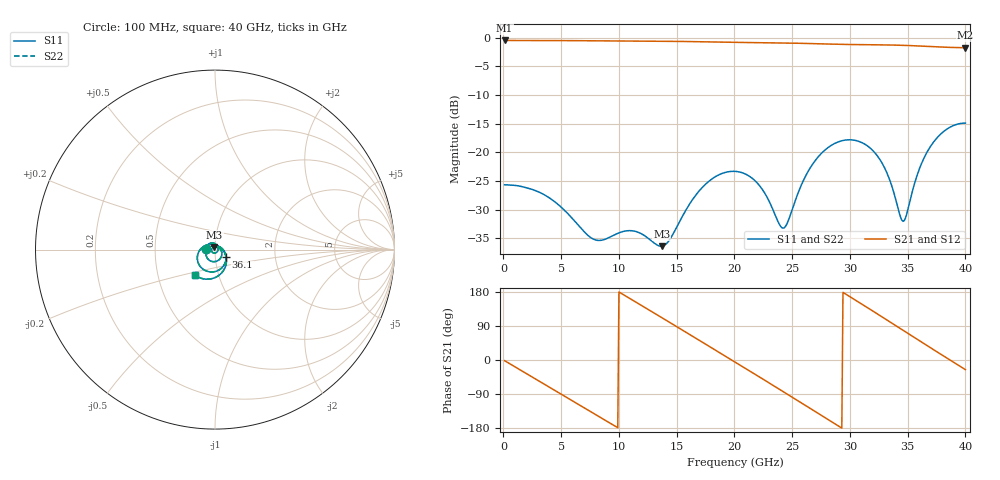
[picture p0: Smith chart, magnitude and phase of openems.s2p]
! thru_s8x2_L1: 2×thru, L1, 8 mm
! stackup: 8-layer 1.6 mm FR-4 without the L2 plane
! ports: 1, 2
! openEMS 0.37.0, staircase, fine mesh (dfine 0.0175 mm), 703416 cells
# Hz S RI R 50
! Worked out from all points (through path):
!   400 points, 100 MHz to 40 GHz, reference 50 ohm
!   highest |S21| = -0.47 dB at 100 MHz (marker M1); lowest = -1.7 dB at 40 GHz (marker M2)
!   group delay of S21, straight-line fit = 51.8 ps
!   lowest |S11| = -36.4 dB at 13.7 GHz (marker M3), VSWR 1.03, Z = 49.5 + j1.43 ohm
!   |S11| at or under -10 dB: start of sweep to end of sweep
!   |S22| runs from -36.4 to -14.9 dB; largest |S21 - S12| = 0
!   S11 on the Smith chart (normalised r, x): 100 MHz: 0.90, +0.00; 36.1 GHz: 1.13, -0.10; 40 GHz: 0.77, -0.22
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1e8  -0.0521 0.00139  0.9465 -0.0298  0.9465 -0.0298  -0.0521 0.00139
1.8e9  -0.0438 0.0234  0.7992 -0.5073  0.7992 -0.5073  -0.0438 0.0234
3.7e9  -0.0198 0.0367  0.375 -0.8683  0.375 -0.8683  -0.0198 0.0367
5.2e9  0.00236 0.0317  -0.0611 -0.9424  -0.0611 -0.9424  0.00236 0.0317
6.8e9  0.017 0.0127  -0.5077 -0.7937  -0.5077 -0.7937  0.017 0.0127
8.5e9  0.0131 -0.0109  -0.8396 -0.4214  -0.8396 -0.4214  0.0131 -0.0109
1.01e10  -0.00496 -0.0194  -0.9362 0.0381  -0.9362 0.0381  -0.00496 -0.0194
1.34e10  -0.00907 0.0124  -0.4306 0.8274  -0.4306 0.8274  -0.00907 0.0124
1.37e10  -0.00467 0.0144  -0.3491 0.8645  -0.3491 0.8645  -0.00467 0.0144
1.65e10  0.0376 -0.0145  0.4576 0.804  0.4576 0.804  0.0376 -0.0145
1.84e10  0.0208 -0.0581  0.8303 0.3907  0.8303 0.3907  0.0208 -0.0581
2.01e10  -0.0236 -0.064  0.9057 -0.0999  0.9057 -0.0999  -0.0236 -0.064
2.19e10  -0.0499 -0.0233  0.6963 -0.58  0.6963 -0.58  -0.0499 -0.0233
2.42e10  -0.000257 0.0218  0.1094 -0.8937  0.1094 -0.8937  -0.000257 0.0218
2.67e10  0.0618 -0.0458  -0.5767 -0.677  -0.5767 -0.677  0.0618 -0.0458
2.83e10  0.0277 -0.1101  -0.8311 -0.2902  -0.8311 -0.2902  0.0277 -0.1101
2.99e10  -0.0484 -0.1192  -0.857 0.1673  -0.857 0.1673  -0.0484 -0.1192
3.34e10  -0.055 0.022  -0.1774 0.8463  -0.1774 0.8463  -0.055 0.022
3.46e10  0.00888 0.0234  0.1717 0.8414  0.1717 0.8414  0.00888 0.0234
3.61e10  0.0621 -0.0427  0.5522 0.6416  0.5522 0.6416  0.0621 -0.0427
3.81e10  0.00967 -0.1513  0.8132 0.1558  0.8132 0.1558  0.00967 -0.1513
4e10  -0.1121 -0.1407  0.7395 -0.3511  0.7395 -0.3511  -0.1121 -0.1407
